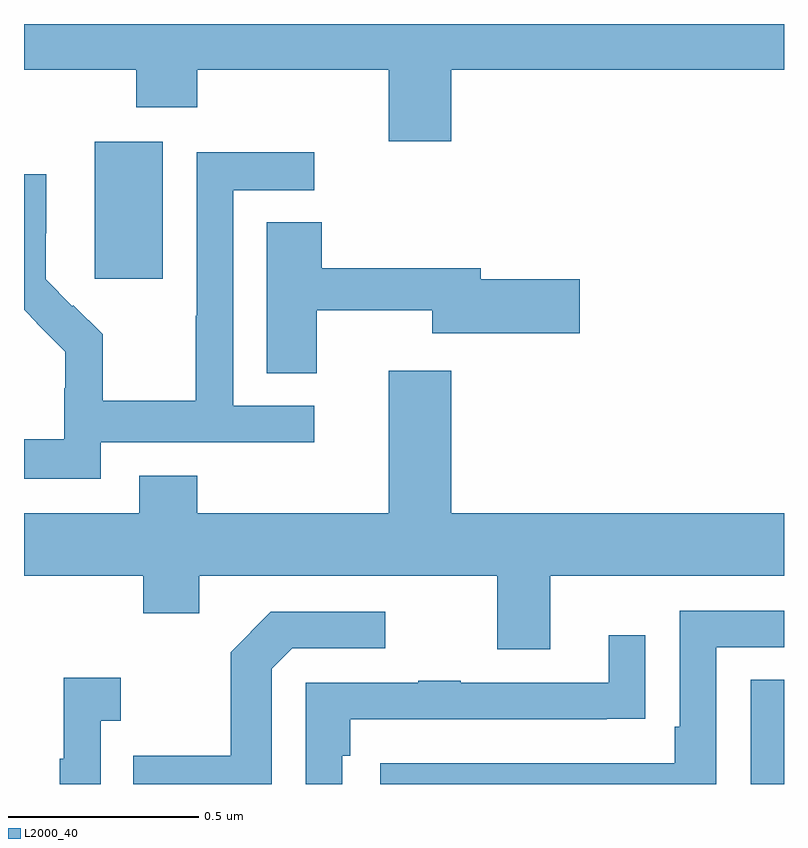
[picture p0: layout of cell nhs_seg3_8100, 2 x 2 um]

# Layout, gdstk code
import gdstk
lib = gdstk.Library(unit=1e-6, precision=1e-09)
def R(c, l, rs):  # rectangles x0, y0, x1, y1
    for r in rs: c.add(gdstk.rectangle(r[:2], r[2:], *l))
def P(c, l, *ps):  # polygons
    for p in ps: c.add(gdstk.Polygon(p, *l))
L2000_40 = (2000, 40)

nhs_seg3_8100 = lib.new_cell('nhs_seg3_8100')
R(nhs_seg3_8100, L2000_40, [(213.912,668.4,214,668.675), (212.186,669.729,212.365,670.09)])
P(nhs_seg3_8100, L2000_40, [(214,670.4),(212,670.4),(212,670.28),(212.296,670.28),(212.296,670.181),(212.456,670.181),(212.456,670.28),(212.96,670.28),(212.96,670.092),(213.124,670.092),(213.124,670.28),(214,670.28)],
  [(212.202,669.3),(212.764,669.3),(212.764,669.396),(212.55,669.396),(212.55,669.963),(212.764,669.963),(212.764,670.062),(212.454,670.062),(212.454,669.632),(212.452,669.632),(212.452,669.409),(212.207,669.409),(212.207,669.583),(212.13,669.66),(212.127,669.657),(212.057,669.728),(212.057,669.85),(212.058,669.85),(212.058,670.004),(212,670.004),(212,669.648),(212.035,669.613),(212.034,669.612),(212.108,669.538),(212.108,669.441),(212.106,669.441),(212.106,669.307),(212,669.307),(212,669.203),(212.202,669.203)],
  [(212.77,669.647),(213.074,669.647),(213.074,669.586),(213.463,669.586),(213.463,669.728),(213.202,669.728),(213.202,669.757),(212.783,669.757),(212.783,669.878),(212.639,669.878),(212.639,669.481),(212.77,669.481)],
  [(213.385,668.948),(214,668.948),(214,669.112),(213.124,669.112),(213.124,669.487),(212.96,669.487),(212.96,669.112),(212.456,669.112),(212.456,669.211),(212.303,669.211),(212.303,669.112),(212,669.112),(212,668.948),(212.314,668.948),(212.314,668.849),(212.461,668.849),(212.461,668.948),(213.245,668.948),(213.245,668.754),(213.385,668.754)],
  [(213.822,668.76),(214,668.76),(214,668.856),(213.726,668.856),(213.726,668.551),(213.713,668.551),(213.713,668.454),(212.937,668.454),(212.937,668.4),(213.822,668.4)],
  [(212.652,668.703),(212.706,668.757),(212.95,668.757),(212.95,668.853),(212.649,668.853),(212.544,668.747),(212.544,668.475),(212.287,668.475),(212.287,668.4),(212.652,668.4)],
  [(212.838,668.474),(212.858,668.474),(212.858,668.571),(213.533,668.571),(213.533,668.572),(213.635,668.572),(213.635,668.791),(213.539,668.791),(213.539,668.667),(213.149,668.667),(213.149,668.672),(213.037,668.672),(213.037,668.667),(212.742,668.667),(212.742,668.4),(212.838,668.4)],
  [(212.202,668.567),(212.254,668.567),(212.254,668.68),(212.105,668.68),(212.105,668.467),(212.094,668.467),(212.094,668.4),(212.202,668.4)])

lib.write_gds('nhs_seg3_8100.gds')
